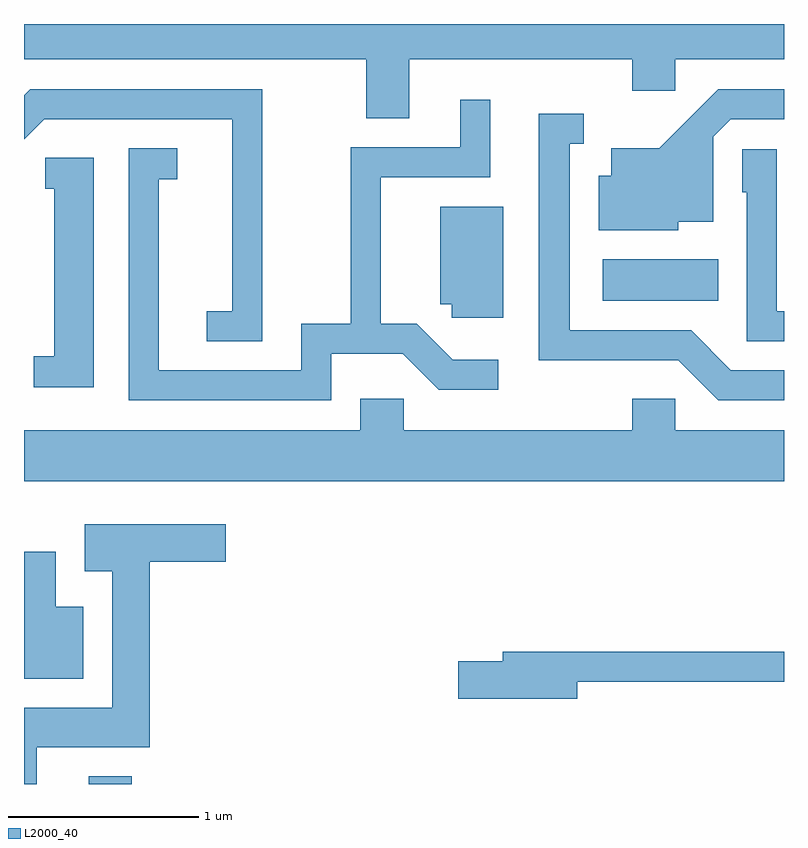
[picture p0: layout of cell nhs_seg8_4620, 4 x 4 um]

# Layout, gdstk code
import gdstk
lib = gdstk.Library(unit=1e-6, precision=1e-09)
def R(c, l, rs):  # rectangles x0, y0, x1, y1
    for r in rs: c.add(gdstk.rectangle(r[:2], r[2:], *l))
def P(c, l, *ps):  # polygons
    for p in ps: c.add(gdstk.Polygon(p, *l))
L2000_40 = (2000, 40)

nhs_seg8_4620 = lib.new_cell('nhs_seg8_4620')
R(nhs_seg8_4620, L2000_40, [(323.951,1870.342,324.179,1870.384), (326.656,1872.886,327.264,1873.104)])
P(nhs_seg8_4620, L2000_40, [(325.639,1874.156),(326.811,1874.156),(326.811,1873.991),(327.039,1873.991),(327.039,1874.156),(327.611,1874.156),(327.611,1874.342),(323.611,1874.342),(323.611,1874.156),(325.411,1874.156),(325.411,1873.846),(325.639,1873.846)],
  [(324.864,1873.999),(323.644,1873.999),(323.611,1873.966),(323.611,1873.735),(323.717,1873.841),(324.706,1873.841),(324.706,1872.829),(324.573,1872.829),(324.573,1872.671),(324.864,1872.671)],
  [(327.054,1873.301),(327.239,1873.301),(327.239,1873.749),(327.332,1873.841),(327.611,1873.841),(327.611,1873.999),(327.264,1873.999),(326.954,1873.689),(326.701,1873.689),(326.701,1873.544),(326.636,1873.544),(326.636,1873.256),(327.054,1873.256)],
  [(325.229,1872.606),(325.604,1872.606),(325.794,1872.416),(326.108,1872.416),(326.108,1872.574),(325.867,1872.574),(325.677,1872.764),(325.489,1872.764),(325.489,1873.536),(326.064,1873.536),(326.064,1873.943),(325.906,1873.943),(325.906,1873.694),(325.331,1873.694),(325.331,1872.764),(325.071,1872.764),(325.071,1872.519),(324.319,1872.519),(324.319,1873.526),(324.418,1873.526),(324.418,1873.689),(324.161,1873.689),(324.161,1872.361),(325.229,1872.361)],
  [(327.611,1872.519),(327.332,1872.519),(327.122,1872.729),(326.484,1872.729),(326.484,1873.711),(326.558,1873.711),(326.558,1873.869),(326.321,1873.869),(326.321,1872.571),(327.054,1872.571),(327.264,1872.361),(327.611,1872.361)],
  [(327.611,1872.829),(327.574,1872.829),(327.574,1873.684),(327.391,1873.684),(327.391,1873.456),(327.416,1873.456),(327.416,1872.671),(327.611,1872.671)],
  [(323.979,1873.639),(323.723,1873.639),(323.723,1873.476),(323.771,1873.476),(323.771,1872.594),(323.663,1872.594),(323.663,1872.431),(323.979,1872.431)],
  [(326.134,1873.379),(325.801,1873.379),(325.801,1872.866),(325.861,1872.866),(325.861,1872.796),(326.134,1872.796)],
  [(327.611,1872.204),(327.039,1872.204),(327.039,1872.369),(326.811,1872.369),(326.811,1872.204),(325.609,1872.204),(325.609,1872.369),(325.381,1872.369),(325.381,1872.204),(323.611,1872.204),(323.611,1871.936),(327.611,1871.936)],
  [(323.679,1870.536),(324.274,1870.536),(324.274,1871.511),(324.674,1871.511),(324.674,1871.709),(323.931,1871.709),(323.931,1871.461),(324.076,1871.461),(324.076,1870.744),(323.611,1870.744),(323.611,1870.342),(323.679,1870.342)],
  [(323.924,1871.274),(323.779,1871.274),(323.779,1871.564),(323.611,1871.564),(323.611,1870.896),(323.924,1870.896)],
  [(326.524,1870.881),(327.611,1870.881),(327.611,1871.039),(326.131,1871.039),(326.131,1870.989),(325.896,1870.989),(325.896,1870.791),(326.524,1870.791)])

lib.write_gds('nhs_seg8_4620.gds')
